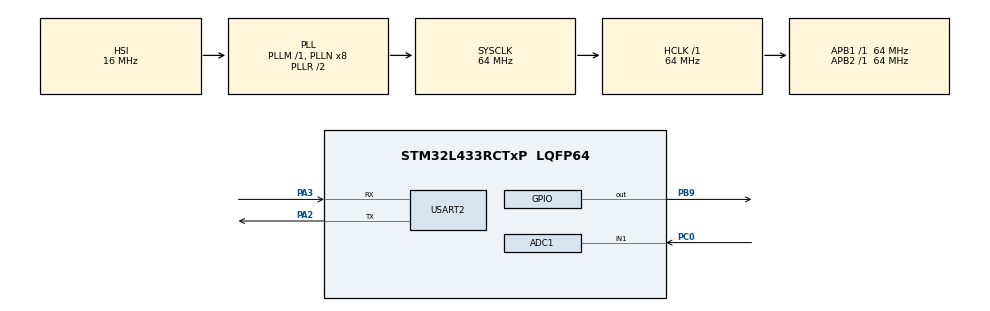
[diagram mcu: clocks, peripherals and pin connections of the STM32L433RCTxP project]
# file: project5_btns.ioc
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ADC1.Channel-2\#ChannelRegularConversion=ADC_CHANNEL_1
ADC1.NbrOfConversionFlag=1
ADC1.OffsetNumber-2\#ChannelRegularConversion=ADC_OFFSET_NONE
ADC1.Rank-2\#ChannelRegularConversion=1
ADC1.SamplingTime-2\#ChannelRegularConversion=ADC_SAMPLETIME_2CYCLES_5
ADC1.master=1
Mcu.Family=STM32L4
Mcu.Name=STM32L433RCTxP
Mcu.Package=LQFP64
NVIC.PriorityGroup=NVIC_PRIORITYGROUP_4
NVIC.USART2_IRQn=true\:0\:0\:false\:false\:true\:true\:true
PA13\ (JTMS-SWDIO).Mode=Serial_Wire
PA13\ (JTMS-SWDIO).Signal=SYS_JTMS-SWDIO
PA14\ (JTCK-SWCLK).Mode=Serial_Wire
PA14\ (JTCK-SWCLK).Signal=SYS_JTCK-SWCLK
PA2.Mode=Asynchronous
PA2.Signal=USART2_TX
PA3.Mode=Asynchronous
PA3.Signal=USART2_RX
PB9.Signal=GPIO_Output
PC0.Signal=ADCx_IN1
ProjectManager.HeapSize=0x200
ProjectManager.StackSize=0x400
ProjectManager.TargetToolchain=STM32CubeIDE
RCC.ADCFreq_Value=64000000
RCC.AHBFreq_Value=64000000
RCC.APB1Freq_Value=64000000
RCC.APB1TimFreq_Value=64000000
RCC.APB2Freq_Value=64000000
RCC.APB2TimFreq_Value=64000000
RCC.CortexFreq_Value=64000000
RCC.HCLKFreq_Value=64000000
RCC.HSE_VALUE=8000000
RCC.HSI48_VALUE=48000000
RCC.HSI_VALUE=16000000
RCC.LSE_VALUE=32768
RCC.MSIClockRange=RCC_MSIRANGE_7
RCC.MSI_VALUE=8000000
RCC.PLLSourceVirtual=RCC_PLLSOURCE_HSI
RCC.SYSCLKFreq_VALUE=64000000
RCC.SYSCLKSource=RCC_SYSCLKSOURCE_PLLCLK
RCC.USBFreq_Value=64000000
RCC.VCOOutputFreq_Value=128000000
SH.ADCx_IN1.0=ADC1_IN1,IN1-Single-Ended
USART2.VirtualMode-Asynchronous=VM_ASYNC
board=custom

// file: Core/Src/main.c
/* USER CODE BEGIN Header */
/**
  ******************************************************************************
  * @file           : main.c
  * @brief          : Main program body
  ******************************************************************************
  * @attention
  *
  * <h2><center>&copy; Copyright (c) 2023 STMicroelectronics.
  * All rights reserved.</center></h2>
  *
  * This software component is licensed by ST under BSD 3-Clause license,
  * the "License"; You may not use this file except in compliance with the
  * License. You may obtain a copy of the License at:
  *                        opensource.org/licenses/BSD-3-Clause
  *
  ******************************************************************************
  */
/* USER CODE END Header */
#include "main.h"

ADC_HandleTypeDef hadc1;

UART_HandleTypeDef huart2;

void SystemClock_Config(void);
static void MX_GPIO_Init(void);
static void MX_ADC1_Init(void);
static void MX_USART2_UART_Init(void);

/* USER CODE BEGIN 0 */
uint16_t value;
float my_value;
/* USER CODE END 0 */

int main(void)
{

  /* MCU Configuration--------------------------------------------------------*/

  /* Reset of all peripherals, Initializes the Flash interface and the Systick. */
  HAL_Init();

  /* Configure the system clock */
  SystemClock_Config();

  /* Initialize all configured peripherals */
  MX_GPIO_Init();
  MX_ADC1_Init();
  MX_USART2_UART_Init();

  /* Infinite loop */
  /* USER CODE BEGIN WHILE */
  uint8_t str[8];
  uint8_t long_string[10];
  while (1)
  {
    /* USER CODE END WHILE */

    /* USER CODE BEGIN 3 */
	  if( HAL_UART_Receive(&huart2, str, 1, 3) == HAL_OK ) {
	   // получен байт из UART
		  if (str[0]== 65) {
			  HAL_UART_Transmit(&huart2, (uint8_t*)"B",1, 3);
			  HAL_ADCEx_Calibration_Start(&hadc1, ADC_SINGLE_ENDED);
			  while(1){
			  if( HAL_UART_Receive(&huart2, str, 1, 3) == HAL_OK ) {
				  if (str[0]== 49) {
					  while(1){
					  	  HAL_ADC_Start(&hadc1);
					  	  HAL_ADC_PollForConversion(&hadc1,10);
					  	  value = HAL_ADC_GetValue(&hadc1);
					  	  my_value = (float)value/1241;
					  	  HAL_ADC_Stop(&hadc1);
					  	  sprintf(long_string, "%.3f\n", my_value);
					  	  HAL_UART_Transmit(&huart2, long_string, 5, 3);
					  	  HAL_Delay(0.1);
					  	  HAL_UART_Receive_IT(&huart2, str, 1);
					  	  if(str[0] == 83){
					  		  break;
					  	  }
					  }
				  }
				  else if(str[0] == 68){
					  break;
				  }
				 }
			  }
		  	}
		  else{
			  HAL_UART_Transmit(&huart2, (uint8_t*)"E",1, 3);
		  }
	  	}

  }
  /* USER CODE END 3 */
}

void SystemClock_Config(void)
{
  RCC_OscInitTypeDef RCC_OscInitStruct = {0};
  RCC_ClkInitTypeDef RCC_ClkInitStruct = {0};

  /** Configure the main internal regulator output voltage
  */
  if (HAL_PWREx_ControlVoltageScaling(PWR_REGULATOR_VOLTAGE_SCALE1) != HAL_OK)
  {
    Error_Handler();
  }
  /** Initializes the RCC Oscillators according to the specified parameters
  * in the RCC_OscInitTypeDef structure.
  */
  RCC_OscInitStruct.OscillatorType = RCC_OSCILLATORTYPE_HSI;
  RCC_OscInitStruct.HSIState = RCC_HSI_ON;
  RCC_OscInitStruct.HSICalibrationValue = RCC_HSICALIBRATION_DEFAULT;
  RCC_OscInitStruct.PLL.PLLState = RCC_PLL_ON;
  RCC_OscInitStruct.PLL.PLLSource = RCC_PLLSOURCE_HSI;
  RCC_OscInitStruct.PLL.PLLM = 1;
  RCC_OscInitStruct.PLL.PLLN = 8;
  RCC_OscInitStruct.PLL.PLLP = RCC_PLLP_DIV7;
  RCC_OscInitStruct.PLL.PLLQ = RCC_PLLQ_DIV2;
  RCC_OscInitStruct.PLL.PLLR = RCC_PLLR_DIV2;
  if (HAL_RCC_OscConfig(&RCC_OscInitStruct) != HAL_OK)
  {
    Error_Handler();
  }
  /** Initializes the CPU, AHB and APB buses clocks
  */
  RCC_ClkInitStruct.ClockType = RCC_CLOCKTYPE_HCLK|RCC_CLOCKTYPE_SYSCLK
                              |RCC_CLOCKTYPE_PCLK1|RCC_CLOCKTYPE_PCLK2;
  RCC_ClkInitStruct.SYSCLKSource = RCC_SYSCLKSOURCE_PLLCLK;
  RCC_ClkInitStruct.AHBCLKDivider = RCC_SYSCLK_DIV1;
  RCC_ClkInitStruct.APB1CLKDivider = RCC_HCLK_DIV1;
  RCC_ClkInitStruct.APB2CLKDivider = RCC_HCLK_DIV1;

  if (HAL_RCC_ClockConfig(&RCC_ClkInitStruct, FLASH_LATENCY_3) != HAL_OK)
  {
    Error_Handler();
  }
}

static void MX_ADC1_Init(void)
{

  ADC_ChannelConfTypeDef sConfig = {0};

  /** Common config
  */
  hadc1.Instance = ADC1;
  hadc1.Init.ClockPrescaler = ADC_CLOCK_ASYNC_DIV1;
  hadc1.Init.Resolution = ADC_RESOLUTION_12B;
  hadc1.Init.DataAlign = ADC_DATAALIGN_RIGHT;
  hadc1.Init.ScanConvMode = ADC_SCAN_DISABLE;
  hadc1.Init.EOCSelection = ADC_EOC_SINGLE_CONV;
  hadc1.Init.LowPowerAutoWait = DISABLE;
  hadc1.Init.ContinuousConvMode = DISABLE;
  hadc1.Init.NbrOfConversion = 1;
  hadc1.Init.DiscontinuousConvMode = DISABLE;
  hadc1.Init.ExternalTrigConv = ADC_SOFTWARE_START;
  hadc1.Init.ExternalTrigConvEdge = ADC_EXTERNALTRIGCONVEDGE_NONE;
  hadc1.Init.DMAContinuousRequests = DISABLE;
  hadc1.Init.Overrun = ADC_OVR_DATA_PRESERVED;
  hadc1.Init.OversamplingMode = DISABLE;
  if (HAL_ADC_Init(&hadc1) != HAL_OK)
  {
    Error_Handler();
  }
  /** Configure Regular Channel
  */
  sConfig.Channel = ADC_CHANNEL_1;
  sConfig.Rank = ADC_REGULAR_RANK_1;
  sConfig.SamplingTime = ADC_SAMPLETIME_2CYCLES_5;
  sConfig.SingleDiff = ADC_SINGLE_ENDED;
  sConfig.OffsetNumber = ADC_OFFSET_NONE;
  sConfig.Offset = 0;
  if (HAL_ADC_ConfigChannel(&hadc1, &sConfig) != HAL_OK)
  {
    Error_Handler();
  }

}

static void MX_USART2_UART_Init(void)
{

  huart2.Instance = USART2;
  huart2.Init.BaudRate = 115200;
  huart2.Init.WordLength = UART_WORDLENGTH_8B;
  huart2.Init.StopBits = UART_STOPBITS_1;
  huart2.Init.Parity = UART_PARITY_NONE;
  huart2.Init.Mode = UART_MODE_TX_RX;
  huart2.Init.HwFlowCtl = UART_HWCONTROL_NONE;
  huart2.Init.OverSampling = UART_OVERSAMPLING_16;
  huart2.Init.OneBitSampling = UART_ONE_BIT_SAMPLE_DISABLE;
  huart2.AdvancedInit.AdvFeatureInit = UART_ADVFEATURE_NO_INIT;
  if (HAL_UART_Init(&huart2) != HAL_OK)
  {
    Error_Handler();
  }

}

static void MX_GPIO_Init(void)
{
  GPIO_InitTypeDef GPIO_InitStruct = {0};

  /* GPIO Ports Clock Enable */
  __HAL_RCC_GPIOC_CLK_ENABLE();
  __HAL_RCC_GPIOA_CLK_ENABLE();
  __HAL_RCC_GPIOB_CLK_ENABLE();

  /*Configure GPIO pin Output Level */
  HAL_GPIO_WritePin(GPIOB, GPIO_PIN_9, GPIO_PIN_RESET);

  /*Configure GPIO pin : PB9 */
  GPIO_InitStruct.Pin = GPIO_PIN_9;
  GPIO_InitStruct.Mode = GPIO_MODE_OUTPUT_PP;
  GPIO_InitStruct.Pull = GPIO_NOPULL;
  GPIO_InitStruct.Speed = GPIO_SPEED_FREQ_LOW;
  HAL_GPIO_Init(GPIOB, &GPIO_InitStruct);

}

void Error_Handler(void)
{
  __disable_irq();
  while (1)
  {
  }
}

/************************ (C) COPYRIGHT STMicroelectronics *****END OF FILE****/
